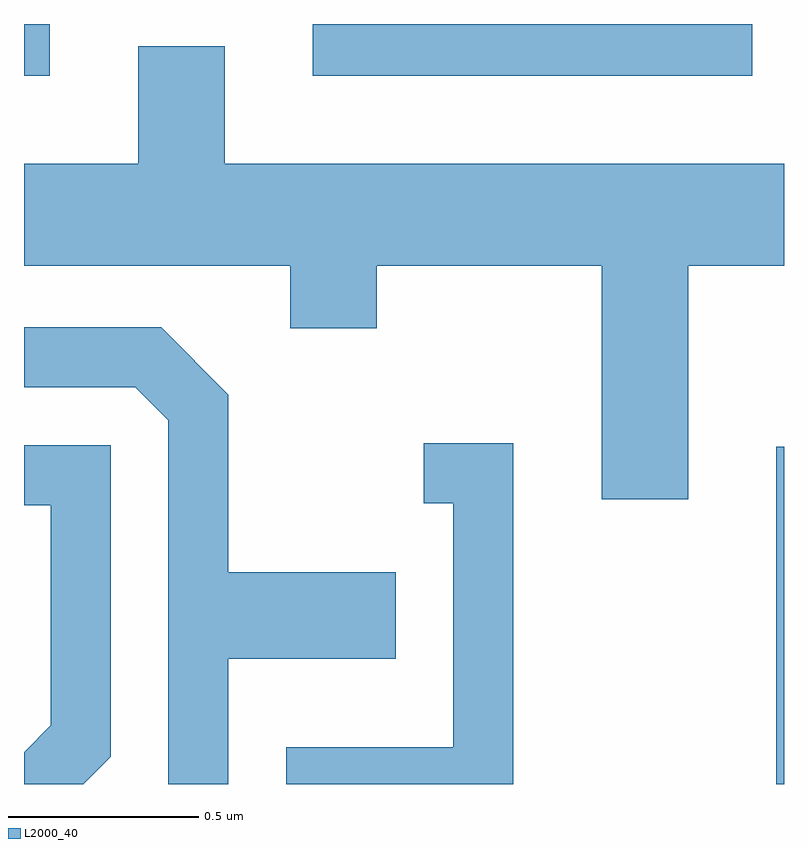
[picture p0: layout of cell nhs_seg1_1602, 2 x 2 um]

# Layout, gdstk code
import gdstk
lib = gdstk.Library(unit=1e-6, precision=1e-09)
def R(c, l, rs):  # rectangles x0, y0, x1, y1
    for r in rs: c.add(gdstk.rectangle(r[:2], r[2:], *l))
def P(c, l, *ps):  # polygons
    for p in ps: c.add(gdstk.Polygon(p, *l))
L2000_40 = (2000, 40)

nhs_seg1_1602 = lib.new_cell('nhs_seg1_1602')
R(nhs_seg1_1602, L2000_40, [(198.591,953.712,198.611,954.599), (196.611,955.576,196.679,955.712), (197.371,955.576,198.528,955.712)])
P(nhs_seg1_1602, L2000_40, [(198.359,955.076),(198.611,955.076),(198.611,955.344),(197.139,955.344),(197.139,955.654),(196.911,955.654),(196.911,955.344),(196.611,955.344),(196.611,955.076),(197.311,955.076),(197.311,954.911),(197.539,954.911),(197.539,955.076),(198.131,955.076),(198.131,954.461),(198.359,954.461)],
  [(197.149,954.041),(197.589,954.041),(197.589,954.269),(197.149,954.269),(197.149,954.737),(196.972,954.914),(196.611,954.914),(196.611,954.756),(196.904,954.756),(196.991,954.669),(196.991,953.712),(197.149,953.712)],
  [(197.899,954.609),(197.663,954.609),(197.663,954.451),(197.741,954.451),(197.741,953.809),(197.301,953.809),(197.301,953.712),(197.899,953.712)],
  [(196.839,953.784),(196.839,954.604),(196.611,954.604),(196.611,954.446),(196.681,954.446),(196.681,953.867),(196.611,953.796),(196.611,953.712),(196.767,953.712)])

lib.write_gds('nhs_seg1_1602.gds')
